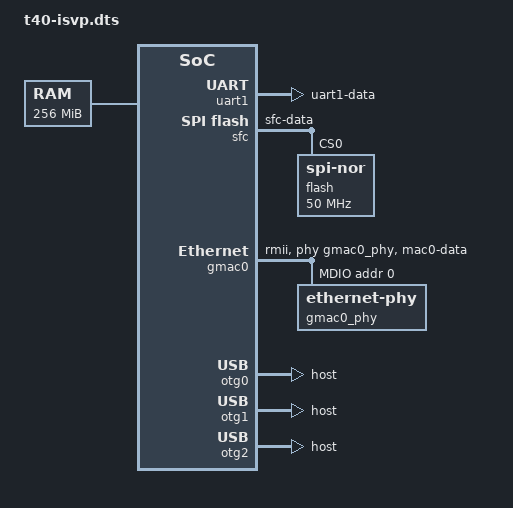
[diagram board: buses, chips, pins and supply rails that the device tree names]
// SPDX-License-Identifier: GPL-2.0+
/dts-v1/;

#include <dt-bindings/clock/ingenic,t40-cgu.h>

/ {
	compatible = "ingenic,t40";
	#address-cells = <1>;
	#size-cells = <1>;

	aliases {
		serial1 = &uart1;
	};

	chosen {
		stdout-path = "serial1:115200n8";
	};

	memory@0 {
		device_type = "memory";
		reg = <0x0 0x10000000>;
	};

	cgu: clock-controller@b0000000 {
		compatible = "ingenic,t40-cgu";
		reg = <0xb0000000 0x1000>;
		#clock-cells = <1>;
		u-boot,dm-pre-reloc;
	};

	pinctrl: pinctrl@b0010000 {
		compatible = "ingenic,t40-pinctrl";
		reg = <0xb0010000 0x8000>;
		#address-cells = <1>;
		#size-cells = <0>;

		gpa: gpio@0 {
			compatible = "ingenic,t40-gpio";
			reg = <0>;
			gpio-controller;
			#gpio-cells = <2>;
		};

		gpb: gpio@1 {
			compatible = "ingenic,t40-gpio";
			reg = <1>;
			gpio-controller;
			#gpio-cells = <2>;
		};

		gpc: gpio@2 {
			compatible = "ingenic,t40-gpio";
			reg = <2>;
			gpio-controller;
			#gpio-cells = <2>;
		};

		gpd: gpio@3 {
			compatible = "ingenic,t40-gpio";
			reg = <3>;
			gpio-controller;
			#gpio-cells = <2>;
		};

		gpe: gpio@4 {
			compatible = "ingenic,t40-gpio";
			reg = <4>;
			gpio-controller;
			#gpio-cells = <2>;
		};

		pins_uart1: uart1 {
			function = "uart1";
			groups = "uart1-data";
		};

		pins_sfc: sfc {
			function = "sfc";
			groups = "sfc-data";
		};

		pins_mac0: mac0 {
			function = "mac0";
			groups = "mac0-data";
		};
	};

	uart1: serial@b0031000 {
		compatible = "ingenic,jz4780-uart", "ns16550a";
		reg = <0xb0031000 0x100>;
		reg-shift = <2>;
		clock-frequency = <24000000>;
		pinctrl-names = "default";
		pinctrl-0 = <&pins_uart1>;
		status = "okay";
	};

	sfc: spi@b3440000 {
		compatible = "ingenic,t40-sfc";
		reg = <0xb3440000 0x10000>;
		#address-cells = <1>;
		#size-cells = <0>;
		clocks = <&cgu T40_CLK_SFC>;
		pinctrl-names = "default";
		pinctrl-0 = <&pins_sfc>;
		spi-max-frequency = <50000000>;
		status = "okay";

		flash@0 {
			compatible = "jedec,spi-nor";
			reg = <0>;
			spi-max-frequency = <50000000>;
		};
	};

	gmac0: ethernet@b30b0000 {
		compatible = "ingenic,t40-gmac";
		reg = <0xb30b0000 0x10000>;
		clocks = <&cgu T40_CLK_GMAC0>;
		phy-mode = "rmii";
		phy-handle = <&gmac0_phy>;
		ingenic,mode-reg = <0xb00000c8>;
		max-speed = <100>;
		pinctrl-names = "default";
		pinctrl-0 = <&pins_mac0>;
		status = "okay";

		mdio {
			#address-cells = <1>;
			#size-cells = <0>;

			gmac0_phy: ethernet-phy@0 {
				reg = <0>;
			};
		};
	};

	otg0: usb@b3600000 {
		compatible = "snps,dwc2";
		reg = <0xb3600000 0x40000>;
		clocks = <&cgu T40_CLK_OTG0>;
		dr_mode = "host";
		status = "okay";
	};

	otg1: usb@b3640000 {
		compatible = "snps,dwc2";
		reg = <0xb3640000 0x40000>;
		clocks = <&cgu T40_CLK_OTG1>;
		dr_mode = "host";
		status = "okay";
	};

	otg2: usb@b3680000 {
		compatible = "snps,dwc2";
		reg = <0xb3680000 0x40000>;
		clocks = <&cgu T40_CLK_OTG2>;
		dr_mode = "host";
		status = "okay";
	};
};
